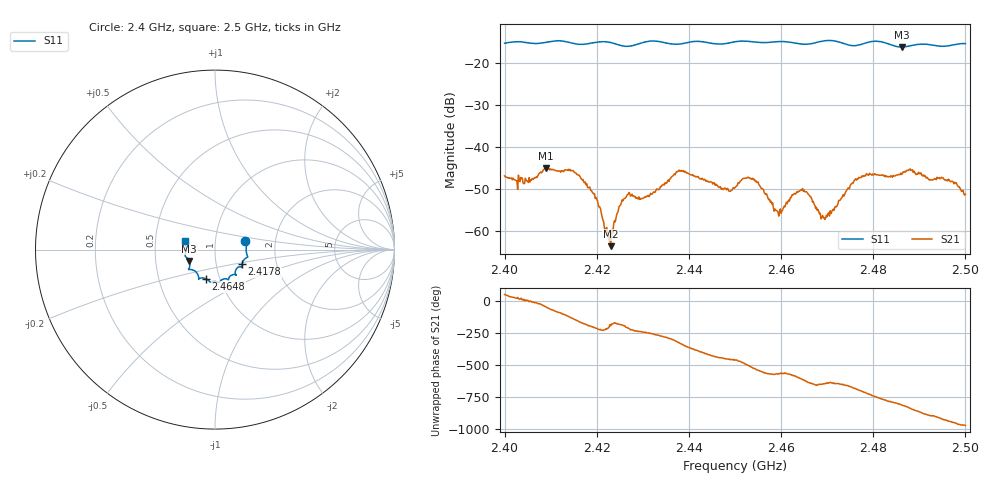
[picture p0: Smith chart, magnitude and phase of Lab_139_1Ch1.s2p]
# Hz S RI R 50
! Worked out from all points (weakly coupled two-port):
!   601 points, 2.4 GHz to 2.5 GHz, reference 50 ohm
!   highest |S21| = -45.12 dB at 2.409 GHz (marker M1); lowest = -63.7 dB at 2.423 GHz (marker M2)
!   lowest |S11| = -16.1 dB at 2.4862 GHz (marker M3), VSWR 1.37, Z = 37.2 - j4.83 ohm
!   |S11| at or under -10 dB: start of sweep to end of sweep
!   S12 and S22 are empty: the file has one direction only
!   S11 on the Smith chart (normalised r, x): 2.4 GHz: 1.40, +0.14; 2.4178 GHz: 1.33, -0.22; 2.4648 GHz: 0.86, -0.29; 2.5 GHz: 0.71, +0.07
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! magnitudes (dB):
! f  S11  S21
! 2.4 GHz  -15.2  -46.9
! 2.4047 GHz  -15.0  -48.0
! 2.409 GHz  -15.0  -45.1
! 2.4167 GHz  -15.4  -47.7
! 2.4178 GHz  -15.3  -48.8
! 2.4197 GHz  -15.0  -52.3
! 2.423 GHz  -15.0  -63.7
! 2.425 GHz  -15.6  -54.0
! 2.4265 GHz  -15.9  -51.7
! 2.4333 GHz  -14.7  -50.1
! 2.4383 GHz  -15.3  -45.6
! 2.45 GHz  -14.8  -49.7
! 2.454 GHz  -14.8  -47.8
! 2.4597 GHz  -14.8  -55.4
! 2.4648 GHz  -15.4  -50.6
! 2.4667 GHz  -15.2  -52.4
! 2.4692 GHz  -14.6  -56.9
! 2.4763 GHz  -15.7  -47.9
! 2.4833 GHz  -15.3  -47.1
! 2.4862 GHz  -16.1  -46.6
! 2.4968 GHz  -15.7  -48.3
! 2.5 GHz  -15.2  -51.3
